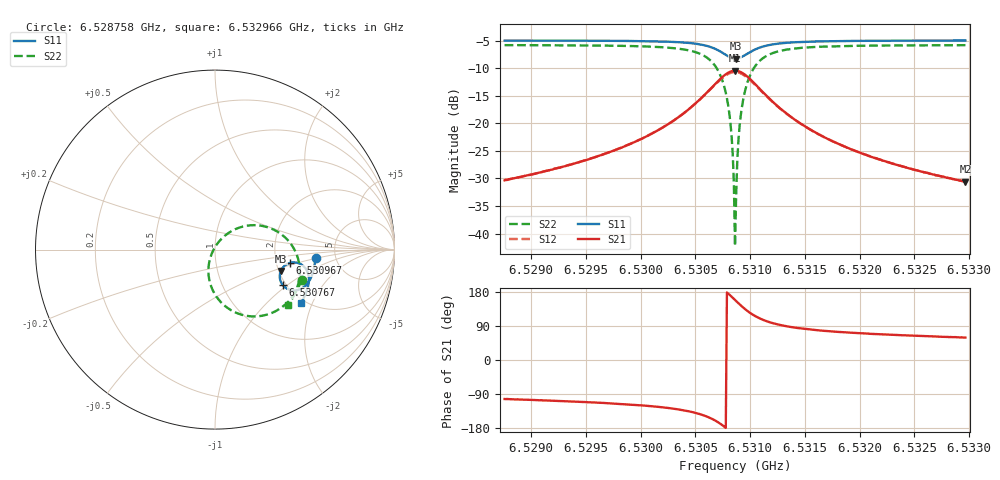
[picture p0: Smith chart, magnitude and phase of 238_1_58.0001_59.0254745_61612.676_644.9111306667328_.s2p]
#  HZ  S  RI  R  50.00
! Rohde & Schwarz Vector Network Analyzer
! Rohde-Schwarz,ZNB20-2Port,1311601062101988,3.16
! Created: UTC 3/21/2024, 1:00:56 AM
! freq[Hz]  re:S11  im:S11  re:S21  im:S21  re:S12  im:S12  re:S22  im:S22
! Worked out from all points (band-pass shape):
!   401 points, 6.528758 GHz to 6.532966 GHz, reference 50 ohm
!   highest |S21| = -10.45 dB at 6.530862 GHz (marker M1); lowest = -30.6 dB at 6.532966 GHz (marker M2)
!   |S21| within 3 dB of the highest: 6.530653 GHz to 6.531073 GHz (420.4 kHz wide, 0.00644 % of centre)
!   lowest |S11| = -8.3 dB at 6.530873 GHz (marker M3), VSWR 2.25, Z = 102 - j28.8 ohm
!   |S11| at or under -10 dB: nowhere
!   |S22| runs from -42.3 to -5.8 dB; largest |S21 - S12| = 0.012
!   S11 on the Smith chart (normalised r, x): 6.528758 GHz: 3.50, -0.49; 6.530767 GHz: 1.92, -0.92; 6.530967 GHz: 2.38, -0.43; 6.532966 GHz: 1.89, -1.65
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6.5287584e9  0.5602 -0.0476  -0.00684 -0.0297  -0.00751 -0.0296  0.4833 -0.1688
6.5294632e9  0.5511 -0.1063  -0.0159 -0.0422  -0.017 -0.0421  0.4524 -0.2327
6.5301679e9  0.5242 -0.1761  -0.0488 -0.0728  -0.0509 -0.0714  0.3718 -0.322
6.5304099e9  0.498 -0.2065  -0.0876 -0.0918  -0.0904 -0.0889  0.2925 -0.3614
6.5305887e9  0.4552 -0.2265  -0.1544 -0.0985  -0.1567 -0.0922  0.169 -0.3676
6.5306939e9  0.4111 -0.2221  -0.2228 -0.0731  -0.222 -0.0635  0.0542 -0.3129
6.5307675e9  0.3765 -0.1959  -0.2732 -0.0157  -0.2676 -0.00592  -0.0205 -0.2078
6.5308096e9  0.3633 -0.1686  -0.2888 0.0362  -0.2802 0.0442  -0.0369 -0.119
6.5308306e9  0.3608 -0.1527  -0.2895 0.0656  -0.2798 0.072  -0.0325 -0.0707
6.5308411e9  0.3609 -0.1443  -0.2876 0.0804  -0.2776 0.0861  -0.0264 -0.0467
6.5308517e9  0.362 -0.1361  -0.2845 0.0954  -0.274 0.1001  -0.0184 -0.0229
6.5308622e9  0.3637 -0.1278  -0.2795 0.11  -0.2689 0.1138  -0.0077 0.000106
6.5308727e9  0.3664 -0.1198  -0.2732 0.1241  -0.2626 0.1267  0.00502 0.0219
6.5308832e9  0.3702 -0.1123  -0.2657 0.1374  -0.2551 0.1391  0.0199 0.0421
6.5308937e9  0.3744 -0.1052  -0.257 0.1497  -0.2465 0.1508  0.0366 0.0606
6.5309148e9  0.3849 -0.0928  -0.2365 0.171  -0.2269 0.1704  0.0738 0.0917
6.5309674e9  0.4172 -0.0742  -0.1775 0.2027  -0.1706 0.1998  0.1768 0.1329
6.531041e9  0.4595 -0.074  -0.1034 0.2049  -0.0999 0.202  0.3007 0.122
6.5311462e9  0.4965 -0.0957  -0.04 0.1748  -0.0382 0.173  0.4031 0.0557
6.5315669e9  0.5229 -0.1747  0.0152 0.0844  0.0161 0.0841  0.4724 -0.1337
6.5322717e9  0.5047 -0.2467  0.0173 0.0406  0.018 0.0402  0.443 -0.2485
6.5329659e9  0.4787 -0.2987  0.0152 0.0254  0.0157 0.0251  0.4078 -0.3086
